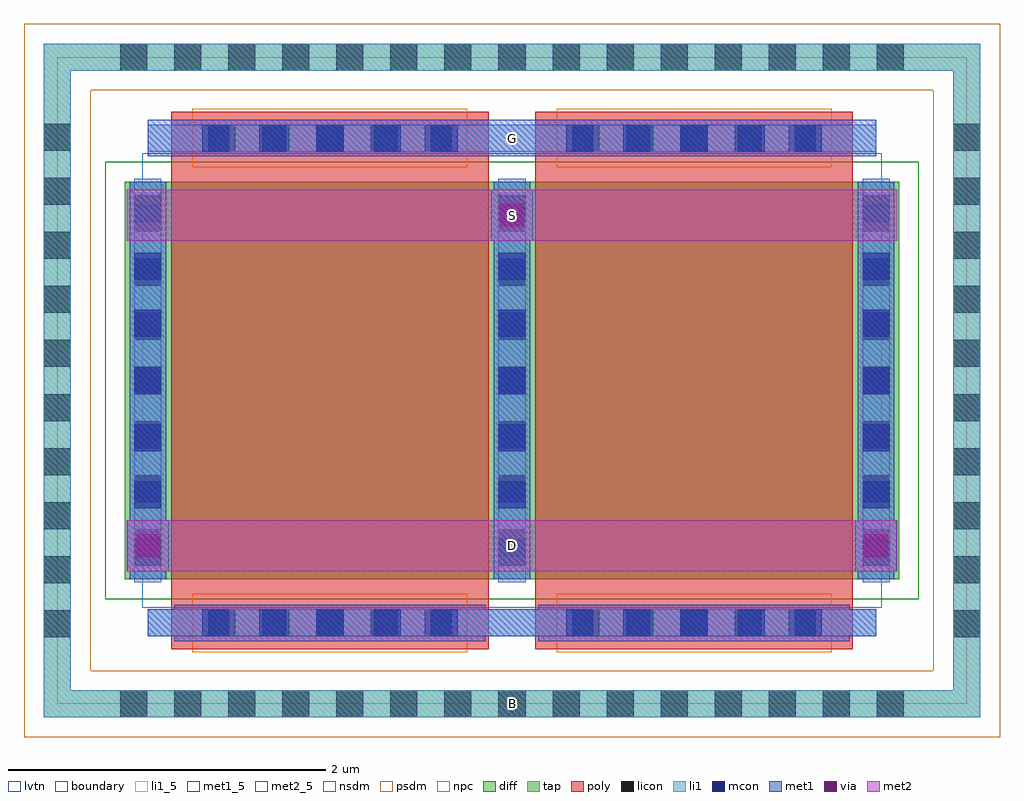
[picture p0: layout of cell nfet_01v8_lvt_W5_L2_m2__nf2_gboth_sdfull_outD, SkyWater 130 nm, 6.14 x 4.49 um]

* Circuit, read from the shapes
.subckt nfet_01v8_lvt_W5_L2_m2__nf2_gboth_sdfull_outD B D G S
XM1 S G D B sky130_fd_pr__nfet_01v8_lvt w=2.5 l=2 m=2
.ends

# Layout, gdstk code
import gdstk
lib = gdstk.Library(unit=1e-6, precision=1e-09)
def R(c, l, rs):  # rectangles x0, y0, x1, y1
    for r in rs: c.add(gdstk.rectangle(r[:2], r[2:], *l))
def A(c, l, x, y, w, h, nx, ny, dx, dy):  # array of equal rectangles
    R(c, l, [(x+i*dx, y+j*dy, x+i*dx+w, y+j*dy+h) for i in range(nx) for j in range(ny)])
diff = (65, 20)
tap = (65, 44)
poly = (66, 20)
licon = (66, 44)
li1_5 = (67, 5)
li1 = (67, 20)
mcon = (67, 44)
met1_5 = (68, 5)
met1 = (68, 20)
via = (68, 44)
met2_5 = (69, 5)
met2 = (69, 20)
nsdm = (93, 44)
psdm = (94, 20)
npc = (95, 20)
lvtn = (125, 44)
boundary = (235, 4)

sky130_fd_pr__nfet_01v8_ = lib.new_cell('sky130_fd_pr__nfet_01v8_lvt_PWQJ9K')
R(sky130_fd_pr__nfet_01v8_, diff, [(-2.435,-1.25,2.435,1.25)])
R(sky130_fd_pr__nfet_01v8_, tap, [(-2.945,-2.12,2.945,-1.95), (-2.945,-1.95,-2.775,1.95), (2.775,-1.95,2.945,1.95), (-2.945,1.95,2.945,2.12)])
R(sky130_fd_pr__nfet_01v8_, poly, [(-2.145,-1.69,-0.145,1.69), (0.145,-1.69,2.145,1.69)])
A(sky130_fd_pr__nfet_01v8_, licon, -2.465, -2.12, 0.17, 0.17, 15, 2, 0.34, 4.07)
A(sky130_fd_pr__nfet_01v8_, licon, -2.945, -1.615, 0.17, 0.17, 1, 10, 0, 0.34)
A(sky130_fd_pr__nfet_01v8_, licon, 2.775, -1.615, 0.17, 0.17, 1, 10, 0, 0.34)
A(sky130_fd_pr__nfet_01v8_, licon, -1.91, -1.61, 0.17, 0.17, 5, 2, 0.34, 3.05)
A(sky130_fd_pr__nfet_01v8_, licon, 0.38, -1.61, 0.17, 0.17, 5, 2, 0.34, 3.05)
A(sky130_fd_pr__nfet_01v8_, licon, -2.375, -1.105, 0.17, 0.17, 3, 7, 2.29, 0.34)
A(sky130_fd_pr__nfet_01v8_, li1, -2.375, -1.27, 0.17, 2.54, 3, 1, 2.29, 0)
R(sky130_fd_pr__nfet_01v8_, li1, [(-2.945,-2.12,2.945,-1.95), (-2.945,-1.95,-2.775,1.95), (2.775,-1.95,2.945,1.95), (-2.29,-1.61,2.29,-1.44), (-2.29,1.44,2.29,1.61), (-2.945,1.95,2.945,2.12)])
A(sky130_fd_pr__nfet_01v8_, mcon, -1.95, -1.61, 0.17, 0.17, 5, 2, 0.36, 3.05)
A(sky130_fd_pr__nfet_01v8_, mcon, 0.34, -1.61, 0.17, 0.17, 5, 2, 0.36, 3.05)
A(sky130_fd_pr__nfet_01v8_, mcon, -2.375, -1.165, 0.17, 0.17, 3, 7, 2.29, 0.36)
A(sky130_fd_pr__nfet_01v8_, met1, -2.405, -1.25, 0.23, 2.5, 3, 1, 2.29, 0)
R(sky130_fd_pr__nfet_01v8_, met1, [(-2.125,-1.64,-0.165,-1.61), (0.165,-1.64,2.125,-1.61), (-2.29,-1.61,2.29,-1.44), (-2.125,-1.44,-0.165,-1.41), (0.165,-1.44,2.125,-1.41), (-2.125,1.41,-0.165,1.44), (0.165,1.41,2.125,1.44), (-2.29,1.44,2.29,1.61), (-2.125,1.61,-0.165,1.64), (0.165,1.61,2.125,1.64)])
R(sky130_fd_pr__nfet_01v8_, nsdm, [(-2.56,-1.375,2.56,1.375)])
R(sky130_fd_pr__nfet_01v8_, psdm, [(-3.07,-2.245,3.07,-1.825), (-3.07,-1.825,-2.65,1.825), (2.65,-1.825,3.07,1.825), (-3.07,1.825,3.07,2.245)])
R(sky130_fd_pr__nfet_01v8_, npc, [(-2.01,-1.71,-0.28,-1.34), (0.28,-1.71,2.01,-1.34), (-2.01,1.34,-0.28,1.71), (0.28,1.34,2.01,1.71)])
R(sky130_fd_pr__nfet_01v8_, lvtn, [(-2.325,-1.43,2.325,1.43)])
R(sky130_fd_pr__nfet_01v8_, boundary, [(-2.86,-2.035,2.86,2.035)])
sky130_fd_pr__nfet_01v8_.add(gdstk.Label('B', (0,-2.035), layer=67, texttype=5))
sky130_fd_pr__nfet_01v8_.add(gdstk.Label('D0', (-2.29,0), layer=67, texttype=5))
sky130_fd_pr__nfet_01v8_.add(gdstk.Label('G', (1.145,1.525), layer=67, texttype=5))
sky130_fd_pr__nfet_01v8_.add(gdstk.Label('G', (-1.145,1.525), layer=67, texttype=5))
sky130_fd_pr__nfet_01v8_.add(gdstk.Label('S1', (0,0), layer=67, texttype=5))

nfet_01v8_lvt_w5_l2_m2__ = lib.new_cell('nfet_01v8_lvt_W5_L2_m2__nf2_gboth_sdfull_outD')
R(nfet_01v8_lvt_w5_l2_m2__, li1_5, [(2.775,-0.085,2.945,0.085)])
R(nfet_01v8_lvt_w5_l2_m2__, li1, [(2.775,-0.085,2.945,0.085)])
R(nfet_01v8_lvt_w5_l2_m2__, met1_5, [(0.57,3.445,5.15,3.675)])
R(nfet_01v8_lvt_w5_l2_m2__, met1, [(0.44,0.835,0.7,1.155), (5.02,0.835,5.28,1.155), (2.73,2.915,2.99,3.235), (0.57,3.445,5.15,3.675)])
R(nfet_01v8_lvt_w5_l2_m2__, via, [(0.495,0.92,0.645,1.07), (5.075,0.92,5.225,1.07), (2.785,3,2.935,3.15)])
R(nfet_01v8_lvt_w5_l2_m2__, met2_5, [(0.435,0.835,5.285,1.155), (0.435,2.915,5.285,3.235)])
R(nfet_01v8_lvt_w5_l2_m2__, met2, [(0.435,0.835,5.285,1.155), (0.435,2.915,5.285,3.235)])
nfet_01v8_lvt_w5_l2_m2__.add(gdstk.Reference(sky130_fd_pr__nfet_01v8_, (2.86,2.035)))
nfet_01v8_lvt_w5_l2_m2__.add(gdstk.Label('S', (2.86,3.075), layer=69, texttype=5))
nfet_01v8_lvt_w5_l2_m2__.add(gdstk.Label('D', (2.86,0.995), layer=69, texttype=5))
nfet_01v8_lvt_w5_l2_m2__.add(gdstk.Label('G', (2.86,3.56), layer=68, texttype=5))
nfet_01v8_lvt_w5_l2_m2__.add(gdstk.Label('B', (2.86,0), layer=67, texttype=5))

lib.write_gds('nfet_01v8_lvt_W5_L2_m2__nf2_gboth_sdfull_outD.gds')
